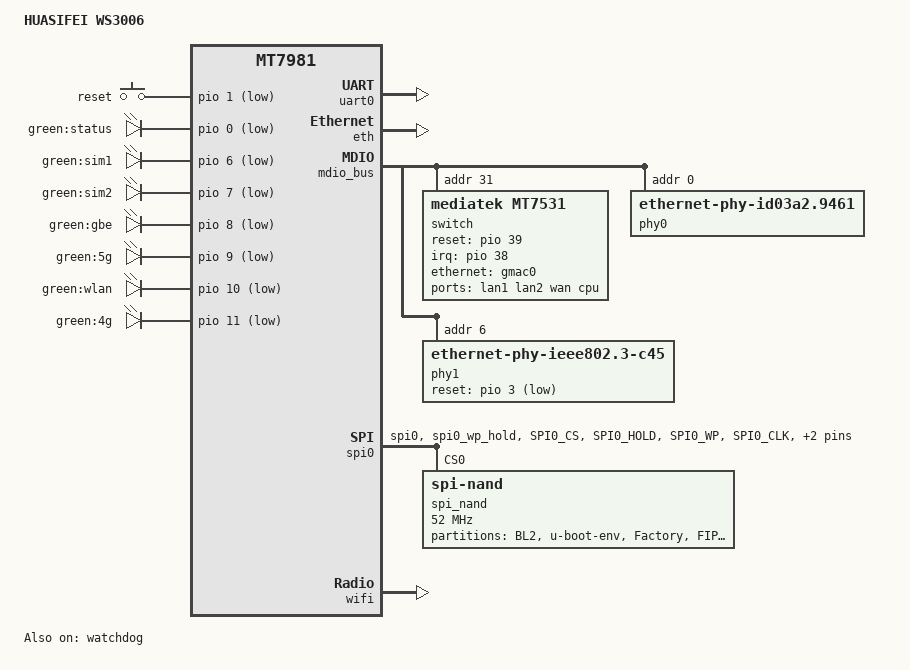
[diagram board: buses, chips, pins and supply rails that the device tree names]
// SPDX-License-Identifier: (GPL-2.0 OR MIT)

/dts-v1/;

#include <dt-bindings/leds/common.h>

#include "mt7981.dtsi"

/ {
	model = "HUASIFEI WS3006";
	compatible = "huasifei,ws3006", "mediatek,mt7981";

	aliases {
		label-mac-device = &gmac0;
		led-boot = &status_led;
		led-failsafe = &status_led;
		led-running = &status_led;
		led-upgrade = &status_led;
		serial0 = &uart0;
	};

	chosen {
		stdout-path = "serial0:115200n8";
	};

	gpio-keys {
		compatible = "gpio-keys";

		reset {
			label = "reset";
			linux,code = <KEY_RESTART>;
			gpios = <&pio 1 GPIO_ACTIVE_LOW>;
		};
	};

	leds {
		compatible = "gpio-leds";

		status_led: led-0 {
			label = "green:status";
			gpios = <&pio 0 GPIO_ACTIVE_LOW>;
		};

		led-1 {
			label = "green:sim1";
			gpios = <&pio 6 GPIO_ACTIVE_LOW>;
		};

		led-2 {
			label = "green:sim2";
			gpios = <&pio 7 GPIO_ACTIVE_LOW>;
		};

		led-3 {
			label = "green:gbe";
			gpios = <&pio 8 GPIO_ACTIVE_LOW>;
		};

		led-4 {
			label = "green:5g";
			gpios = <&pio 9 GPIO_ACTIVE_LOW>;
		};

		led-5 {
			label = "green:wlan";
			gpios = <&pio 10 GPIO_ACTIVE_LOW>;
		};

		led-6 {
			label = "green:4g";
			gpios = <&pio 11 GPIO_ACTIVE_LOW>;
		};
	};
};

&uart0 {
	status = "okay";
};

&watchdog {
	status = "okay";
};

&eth {
	pinctrl-names = "default";
	pinctrl-0 = <&mdio_pins>;
	status = "okay";

	gmac0: mac@0 {
		compatible = "mediatek,eth-mac";
		reg = <0>;
		phy-mode = "2500base-x";

		fixed-link {
			speed = <2500>;
			full-duplex;
			pause;
		};
	};

	gmac1: mac@1 {
		compatible = "mediatek,eth-mac";
		reg = <1>;
		phy-mode = "2500base-x";
		phy-handle = <&phy0>;
		label = "lan3";
	};
};

&mdio_bus {
	switch: switch@1f {
		compatible = "mediatek,mt7531";
		reg = <31>;
		reset-gpios = <&pio 39 GPIO_ACTIVE_HIGH>;
		interrupt-controller;
		#interrupt-cells = <1>;
		interrupt-parent = <&pio>;
		interrupts = <38 IRQ_TYPE_LEVEL_HIGH>;
	};
	
	phy0: ethernet-phy@0 {
		compatible = "ethernet-phy-id03a2.9461";
		reg = <0>;
		phy-mode = "gmii";
		nvmem-cells = <&phy_calibration>;
		nvmem-cell-names = "phy-cal-data";
	};

	phy1: ethernet-phy@1 {
		compatible = "ethernet-phy-ieee802.3-c45";
		reg = <6>;
		reset-assert-us = <100000>;
		reset-deassert-us = <100000>;
		reset-gpios = <&pio 3 GPIO_ACTIVE_LOW>;
	};
};

&spi0 {
	pinctrl-names = "default";
	pinctrl-0 = <&spi0_flash_pins>;
	status = "okay";

	spi_nand: flash@0 {
		#address-cells = <1>;
		#size-cells = <1>;
		compatible = "spi-nand";
		reg = <0>;
		spi-max-frequency = <52000000>;

		spi-cal-enable;
		spi-cal-mode = "read-data";
		spi-cal-datalen = <7>;
		spi-cal-data = /bits/ 8 <0x53 0x50 0x49 0x4E 0x41 0x4E 0x44>;
		spi-cal-addrlen = <5>;
		spi-cal-addr = /bits/ 32 <0x0 0x0 0x0 0x0 0x0>;

		spi-tx-bus-width = <4>;
		spi-rx-bus-width = <4>;
		mediatek,nmbm;
		mediatek,bmt-max-ratio = <1>;
		mediatek,bmt-max-reserved-blocks = <64>;

		partitions {
			compatible = "fixed-partitions";
			#address-cells = <1>;
			#size-cells = <1>;

			partition@0 {
				label = "BL2";
				reg = <0x0 0x100000>; /* 1 MiB */
				read-only;
			};

			partition@100000 {
				label = "u-boot-env";
				reg = <0x100000 0x80000>; /* 0.5 MiB */
			};

			factory: partition@180000 {
				label = "Factory";
				reg = <0x180000 0x200000>; /* 2 MiB */
				read-only;

				nvmem-layout {
					compatible = "fixed-layout";
					#address-cells = <1>;
					#size-cells = <1>;

					eeprom_factory_0: eeprom@0 {
						reg = <0x0 0x1000>;
					};
				};
			};

			partition@380000 {
				label = "FIP";
				reg = <0x380000 0x200000>; /* 2 MiB */
			};
			
			partition@580000 {
				label = "ubi";
				reg = <0x580000 0x6e00000>; /* 110 MiB */
			};

			partition@7380000 {
				label = "config";
				reg = <0x7380000 0x80000>; /* 0.5 MiB */
			};

			/* Leave last 12 MiB for NMBM badblock table */
		};
	};
};

&pio {
	spi0_flash_pins: spi0-pins {
		mux {
			function = "spi";
			groups = "spi0", "spi0_wp_hold";
		};
		conf-pu {
			pins = "SPI0_CS", "SPI0_HOLD", "SPI0_WP";
			drive-strength = <MTK_DRIVE_8mA>;
			bias-pull-up = <MTK_PUPD_SET_R1R0_11>;
		};

		conf-pd {
			pins = "SPI0_CLK", "SPI0_MOSI", "SPI0_MISO";
			drive-strength = <MTK_DRIVE_8mA>;
			bias-pull-down = <MTK_PUPD_SET_R1R0_11>;
		};
	};
};

&switch {
	ports {
		#address-cells = <1>;
		#size-cells = <0>;

		port@0 {
			reg = <0>;
			label = "lan1";
		};

		port@1 {
			reg = <1>;
			label = "lan2";
		};

		port@5 {
			reg = <5>;
			label = "wan";
			phy-mode = "2500base-x";
			phy-handle = <&phy1>;
		};

		port@6 {
			reg = <6>;
			label = "cpu";
			ethernet = <&gmac0>;
			phy-mode = "2500base-x";

			fixed-link {
				speed = <2500>;
				full-duplex;
				pause;
			};
		};
	};
};

&wifi {
	status = "okay";
	nvmem-cells = <&eeprom_factory_0>;
	nvmem-cell-names = "eeprom";
};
